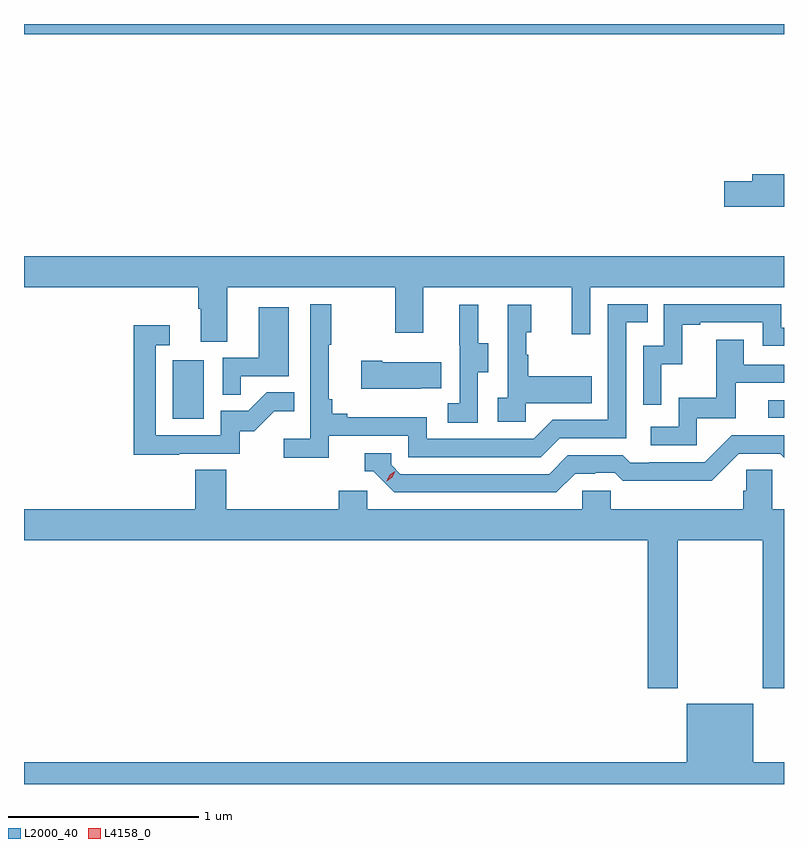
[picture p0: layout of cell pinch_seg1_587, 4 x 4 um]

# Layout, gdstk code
import gdstk
lib = gdstk.Library(unit=1e-6, precision=1e-09)
def R(c, l, rs):  # rectangles x0, y0, x1, y1
    for r in rs: c.add(gdstk.rectangle(r[:2], r[2:], *l))
def P(c, l, *ps):  # polygons
    for p in ps: c.add(gdstk.Polygon(p, *l))
L2000_40 = (2000, 40)
L4158_0 = (4158, 0)

pinch_seg1_587 = lib.new_cell('pinch_seg1_587')
R(pinch_seg1_587, L2000_40, [(1053.098,509.748,1053.262,510.055), (1056.231,509.754,1056.315,509.847), (1052.315,511.772,1056.315,511.826)])
P(pinch_seg1_587, L2000_40, [(1056.315,511.034),(1056.149,511.034),(1056.149,510.998),(1056,510.998),(1056,510.863),(1056.315,510.863)],
  [(1052.315,510.44),(1053.233,510.44),(1053.233,510.328),(1053.245,510.328),(1053.245,510.154),(1053.385,510.154),(1053.385,510.44),(1054.27,510.44),(1054.27,510.201),(1054.417,510.201),(1054.417,510.44),(1055.198,510.44),(1055.198,510.192),(1055.295,510.192),(1055.295,510.44),(1056.315,510.44),(1056.315,510.604),(1052.315,510.604)],
  [(1053.92,509.658),(1054.338,509.658),(1054.338,509.547),(1055.035,509.547),(1055.134,509.646),(1055.484,509.646),(1055.484,510.255),(1055.597,510.255),(1055.597,510.351),(1055.388,510.351),(1055.388,509.742),(1055.097,509.742),(1054.998,509.643),(1054.434,509.643),(1054.434,509.755),(1054.015,509.755),(1054.015,509.774),(1053.938,509.774),(1053.938,509.851),(1053.919,509.851),(1053.919,510.139),(1053.931,510.139),(1053.931,510.352),(1053.822,510.352),(1053.822,509.644),(1053.681,509.644),(1053.681,509.542),(1053.92,509.542)],
  [(1055.67,510.035),(1055.78,510.035),(1055.78,510.243),(1055.875,510.243),(1055.875,510.255),(1056.204,510.255),(1056.204,510.132),(1056.315,510.132),(1056.315,510.228),(1056.3,510.228),(1056.3,510.351),(1055.682,510.351),(1055.682,510.132),(1055.574,510.132),(1055.574,509.823),(1055.67,509.823)],
  [(1054.704,509.992),(1054.759,509.992),(1054.759,510.147),(1054.705,510.147),(1054.705,510.349),(1054.607,510.349),(1054.607,510.135),(1054.608,510.135),(1054.608,509.831),(1054.545,509.831),(1054.545,509.728),(1054.704,509.728)],
  [(1054.956,509.831),(1055.303,509.831),(1055.303,509.971),(1054.969,509.971),(1054.969,510.086),(1054.959,510.086),(1054.959,510.204),(1054.984,510.204),(1054.984,510.349),(1054.86,510.349),(1054.86,509.858),(1054.809,509.858),(1054.809,509.733),(1054.956,509.733)],
  [(1053.455,509.973),(1053.709,509.973),(1053.709,510.334),(1053.551,510.334),(1053.551,510.069),(1053.36,510.069),(1053.36,509.875),(1053.455,509.875)],
  [(1053.131,509.565),(1053.45,509.565),(1053.45,509.682),(1053.526,509.682),(1053.633,509.789),(1053.737,509.789),(1053.737,509.888),(1053.593,509.888),(1053.495,509.79),(1053.351,509.79),(1053.351,509.661),(1053.009,509.661),(1053.009,510.135),(1053.082,510.135),(1053.082,510.241),(1052.893,510.241),(1052.893,509.56),(1053.131,509.56)],
  [(1055.856,509.751),(1056.061,509.751),(1056.061,509.937),(1056.315,509.937),(1056.315,510.033),(1056.103,510.033),(1056.103,510.163),(1055.959,510.163),(1055.959,509.86),(1055.76,509.86),(1055.76,509.706),(1055.613,509.706),(1055.613,509.61),(1055.856,509.61)],
  [(1054.403,509.909),(1054.511,509.909),(1054.511,510.046),(1054.201,510.046),(1054.201,510.054),(1054.089,510.054),(1054.089,509.906),(1054.403,509.906)],
  [(1055.215,509.46),(1055.322,509.46),(1055.322,509.463),(1055.425,509.463),(1055.467,509.421),(1055.7,509.421),(1055.7,509.423),(1055.936,509.423),(1056.078,509.565),(1056.294,509.565),(1056.315,509.544),(1056.315,509.661),(1056.039,509.661),(1055.898,509.52),(1055.605,509.52),(1055.605,509.517),(1055.506,509.517),(1055.467,509.556),(1055.178,509.556),(1055.079,509.457),(1054.296,509.457),(1054.248,509.505),(1054.248,509.568),(1054.109,509.568),(1054.109,509.472),(1054.152,509.472),(1054.263,509.361),(1055.116,509.361)],
  [(1055.757,509.108),(1056.202,509.108),(1056.202,508.329),(1056.315,508.329),(1056.315,509.272),(1056.252,509.272),(1056.252,509.48),(1056.115,509.48),(1056.115,509.37),(1056.101,509.37),(1056.101,509.272),(1055.403,509.272),(1055.403,509.37),(1055.253,509.37),(1055.253,509.272),(1054.122,509.272),(1054.122,509.37),(1053.971,509.37),(1053.971,509.272),(1053.38,509.272),(1053.38,509.48),(1053.215,509.48),(1053.215,509.272),(1052.315,509.272),(1052.315,509.108),(1055.597,509.108),(1055.597,508.329),(1055.757,508.329)],
  [(1056.315,507.94),(1056.154,507.94),(1056.154,508.249),(1055.804,508.249),(1055.804,507.94),(1052.315,507.94),(1052.315,507.826),(1056.315,507.826)])
P(pinch_seg1_587, L4158_0, [(1054.223,509.42),(1054.223,509.421),(1054.239,509.453),(1054.27,509.472),(1054.27,509.472),(1054.27,509.472),(1054.254,509.44),(1054.223,509.42)])

lib.write_gds('pinch_seg1_587.gds')
